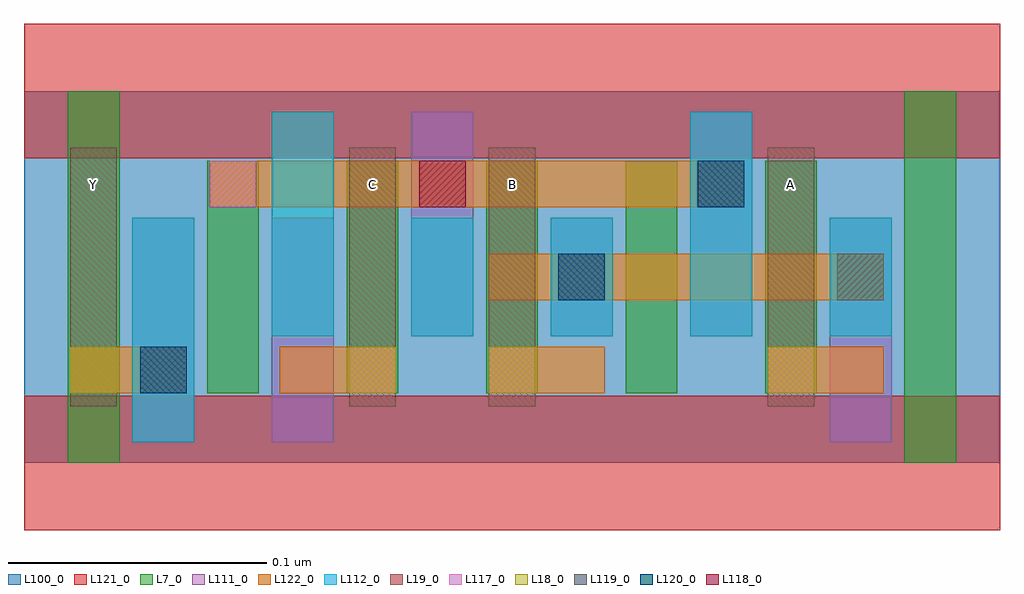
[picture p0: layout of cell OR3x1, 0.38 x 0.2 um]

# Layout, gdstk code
import gdstk
lib = gdstk.Library(unit=1e-6, precision=2.5e-10)
def R(c, l, rs):  # rectangles x0, y0, x1, y1
    for r in rs: c.add(gdstk.rectangle(r[:2], r[2:], *l))
def A(c, l, x, y, w, h, nx, ny, dx, dy):  # array of equal rectangles
    R(c, l, [(x+i*dx, y+j*dy, x+i*dx+w, y+j*dy+h) for i in range(nx) for j in range(ny)])
L7_0 = (7, 0)
L18_0 = (18, 0)
L19_0 = (19, 0)
L100_0 = (100, 0)
L111_0 = (111, 0)
L112_0 = (112, 0)
L117_0 = (117, 0)
L118_0 = (118, 0)
L119_0 = (119, 0)
L120_0 = (120, 0)
L121_0 = (121, 0)
L122_0 = (122, 0)

or3x1 = lib.new_cell('OR3x1')
A(or3x1, L7_0, 0.071, 0.027, 0.02, 0.09, 5, 1, 0.054, 0)
R(or3x1, L7_0, [(0.017,0,0.037,0.144), (0.341,0,0.361,0.144)])
R(or3x1, L18_0, [(0.018,0.027,0.036,0.045), (0.126,0.027,0.144,0.045), (0.18,0.027,0.198,0.045), (0.288,0.027,0.306,0.045)])
R(or3x1, L19_0, [(0.018,0.022,0.036,0.122), (0.126,0.022,0.144,0.122), (0.18,0.022,0.198,0.122), (0.288,0.022,0.306,0.122)])
R(or3x1, L100_0, [(0,0,0.378,0.144)])
R(or3x1, L111_0, [(0.042,0.008,0.066,0.095), (0.096,0.008,0.12,0.095), (0.312,0.008,0.336,0.095), (0.15,0.049,0.174,0.136), (0.204,0.049,0.228,0.095), (0.258,0.049,0.282,0.136)])
R(or3x1, L112_0, [(0.042,0.008,0.066,0.095), (0.096,0.049,0.12,0.136), (0.15,0.049,0.174,0.095), (0.204,0.049,0.228,0.095), (0.258,0.049,0.282,0.136), (0.312,0.049,0.336,0.095)])
R(or3x1, L117_0, [(0.126,0.027,0.144,0.045), (0.18,0.027,0.198,0.045), (0.288,0.027,0.306,0.045), (0.072,0.099,0.09,0.117)])
R(or3x1, L118_0, [(0.153,0.099,0.171,0.117)])
R(or3x1, L119_0, [(0.045,0.027,0.063,0.045), (0.207,0.063,0.225,0.081), (0.315,0.063,0.333,0.081), (0.261,0.099,0.279,0.117)])
R(or3x1, L120_0, [(0.045,0.027,0.063,0.045), (0.207,0.063,0.225,0.081), (0.261,0.099,0.279,0.117)])
R(or3x1, L121_0, [(0,-0.026,0.378,0.026), (0,0.118,0.378,0.17)])
A(or3x1, L122_0, 0.018, 0.027, 0.045, 0.018, 3, 1, 0.081, 0)
R(or3x1, L122_0, [(0.288,0.027,0.333,0.045), (0.18,0.063,0.333,0.081), (0.072,0.099,0.279,0.117)])
or3x1.add(gdstk.Label('Y', (0.027,0.108), layer=19, texttype=251))
or3x1.add(gdstk.Label('C', (0.135,0.108), layer=19, texttype=251))
or3x1.add(gdstk.Label('B', (0.189,0.108), layer=19, texttype=251))
or3x1.add(gdstk.Label('A', (0.297,0.108), layer=19, texttype=251))

lib.write_gds('OR3x1.gds')
